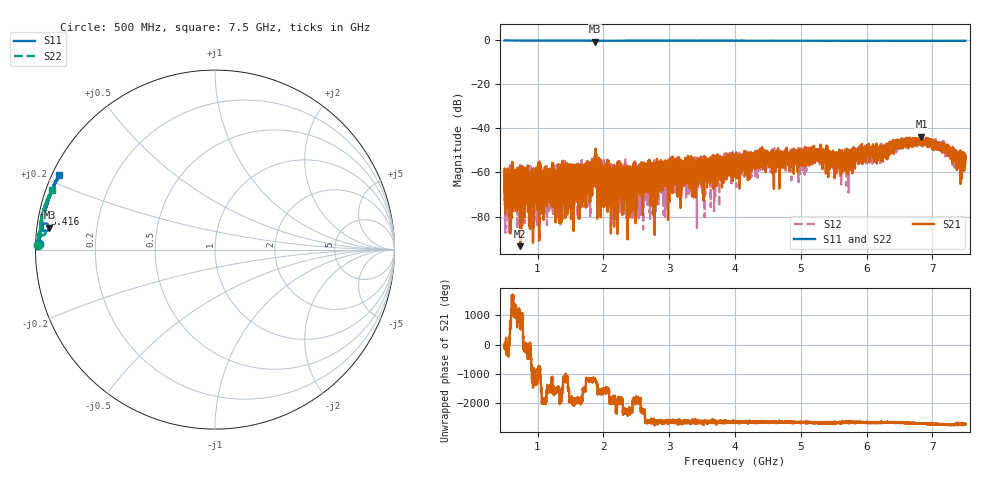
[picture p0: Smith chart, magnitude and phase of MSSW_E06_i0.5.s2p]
!Keysight Technologies,M9374A,MY55442783,A.12.55.05
!Date: Thursday, May 20, 2021 14:05:59
!Correction: S11(Full 2 Port(1,2))
!S21(Full 2 Port(1,2))
!S12(Full 2 Port(1,2))
!S22(Full 2 Port(1,2))
!S2P File: Measurements: S11, S21, S12, S22:
# Hz S  RI  R 50
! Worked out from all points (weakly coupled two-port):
!   7001 points, 500 MHz to 7.5 GHz, reference 50 ohm
!   highest |S21| = -43.76 dB at 6.832 GHz (marker M1); lowest = -93.4 dB at 738 MHz (marker M2)
!   lowest |S11| = -0.6 dB at 1.873 GHz (marker M3), VSWR 27.68, Z = 1.81 + j3.3 ohm
!   |S11| at or under -10 dB: nowhere
!   |S22| runs from -0.5 to -0.1 dB; largest |S21 - S12| = 0.0043
!   S11 on the Smith chart (normalised r, x): 500 MHz: 0.01, +0.02; 3.416 GHz: 0.01, +0.10; 7.5 GHz: 0.02, +0.23
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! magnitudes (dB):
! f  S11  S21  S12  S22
! 500 MHz  -0.2  -70.1  -68.8  -0.1
! 738 MHz  -0.2  -93.4  -61.5  -0.1
! 1.667 GHz  -0.2  -65.0  -62.1  -0.1
! 1.742 GHz  -0.2  -64.4  -59.5  -0.1
! 1.873 GHz  -0.6  -56.2  -53.9  -0.5
! 1.99 GHz  -0.3  -65.8  -59.3  -0.2
! 2.171 GHz  -0.3  -65.7  -69.8  -0.2
! 2.405 GHz  -0.3  -58.9  -66.7  -0.2
! 2.571 GHz  -0.3  -57.1  -61.4  -0.2
! 2.834 GHz  -0.2  -64.6  -65.1  -0.2
! 2.941 GHz  -0.2  -55.8  -54.6  -0.2
! 3.044 GHz  -0.2  -56.2  -62.1  -0.2
! 3.416 GHz  -0.3  -55.7  -56.8  -0.2
! 4 GHz  -0.2  -54.5  -55.2  -0.2
! 5.167 GHz  -0.3  -51.3  -51.7  -0.2
! 5.643 GHz  -0.3  -52.0  -57.6  -0.2
! 5.997 GHz  -0.3  -51.6  -49.2  -0.2
! 6.334 GHz  -0.3  -48.6  -49.4  -0.2
! 6.832 GHz  -0.3  -43.8  -44.7  -0.3
! 7.194 GHz  -0.3  -49.2  -49.1  -0.3
! 7.415 GHz  -0.3  -52.1  -55.1  -0.3
! 7.5 GHz  -0.3  -52.2  -52.6  -0.3
